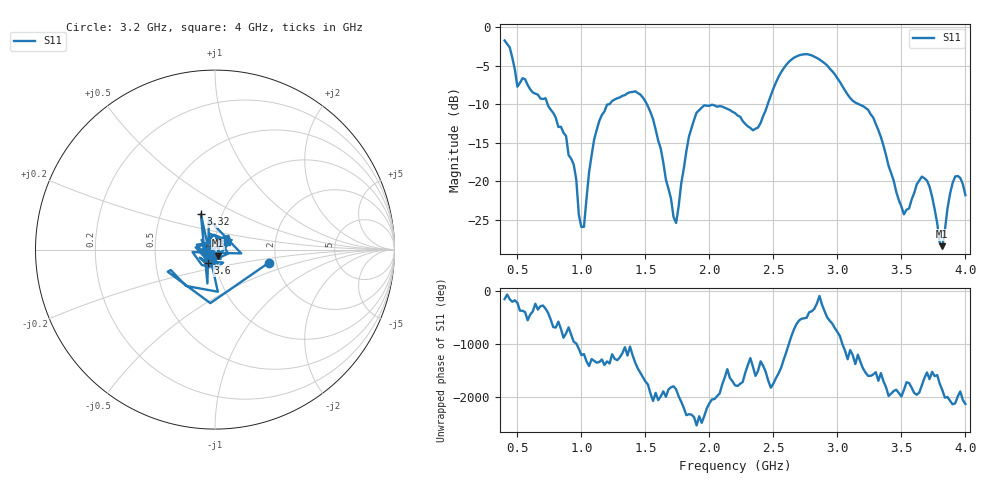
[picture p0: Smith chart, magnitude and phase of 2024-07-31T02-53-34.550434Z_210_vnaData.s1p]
!Created with skrf (http://scikit-rf.org).
# Hz S RI R 50.0
!freq ReS11 ImS11
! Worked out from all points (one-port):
!   181 points, 400 MHz to 4 GHz, reference 50 ohm
!   lowest |S11| = -28.4 dB at 3.82 GHz (marker M1), VSWR 1.08, Z = 51.5 - j3.57 ohm
!   |S11| at or under -10 dB: 735.7 MHz to 1.217 GHz (481.2 MHz wide, 49.3 % of centre); 1.511 GHz to 2.456 GHz (944.4 MHz wide, 47.6 % of centre); 3.167 GHz to end of sweep
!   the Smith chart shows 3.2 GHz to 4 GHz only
!   S11 on the Smith chart (normalised r, x): 3.2 GHz: 1.82, -0.30; 3.32 GHz: 0.79, +0.33; 3.6 GHz: 0.91, -0.14; 4 GHz: 1.14, +0.10
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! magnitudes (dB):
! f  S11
! 400 MHz  -1.7
! 500 MHz  -7.7
! 720 MHz  -9.2
! 860 MHz  -13.7
! 1.02 GHz  -25.9
! 1.06 GHz  -18.8
! 1.12 GHz  -13.3
! 1.3 GHz  -9.1
! 1.5 GHz  -9.6
! 1.62 GHz  -15.8
! 1.72 GHz  -24.6
! 1.76 GHz  -23.2
! 1.84 GHz  -14.2
! 1.9 GHz  -11.1
! 2.2 GHz  -11.1
! 2.38 GHz  -13.0
! 2.66 GHz  -4.0
! 2.86 GHz  -4.2
! 3.1 GHz  -9.2
! 3.2 GHz  -10.2
! 3.32 GHz  -13.4
! 3.52 GHz  -24.3
! 3.56 GHz  -23.5
! 3.6 GHz  -21.5
! 3.7 GHz  -19.9
! 3.82 GHz  -28.4
! 3.92 GHz  -19.4
! 4 GHz  -21.8
